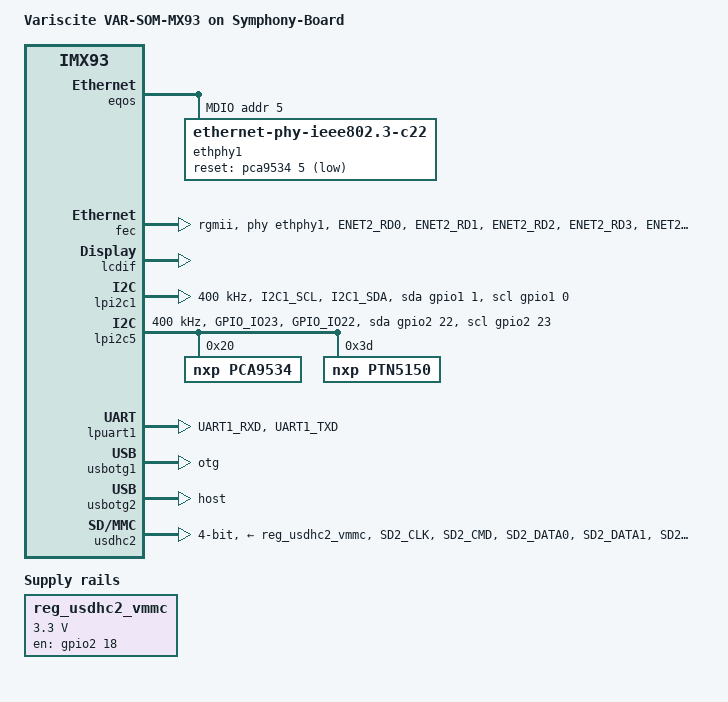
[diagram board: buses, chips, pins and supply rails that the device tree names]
// SPDX-License-Identifier: (GPL-2.0+ OR MIT)
/*
 * Copyright 2021 NXP
 * Copyright 2023 Variscite Ltd.
 */

/dts-v1/;

#include "imx93-var-som.dtsi"

/{
	model = "Variscite VAR-SOM-MX93 on Symphony-Board";
	compatible = "variscite,imx93-var-som", "fsl,imx93";

	aliases {
		ethernet1 = &fec;
	};

	chosen {
		stdout-path = &lpuart1;
	};

	reg_usdhc2_vmmc: regulator-usdhc2 {
		compatible = "regulator-fixed";
		pinctrl-names = "default";
		pinctrl-0 = <&pinctrl_reg_usdhc2_vmmc>;
		regulator-name = "VSD_3V3";
		regulator-min-microvolt = <3300000>;
		regulator-max-microvolt = <3300000>;
		gpio = <&gpio2 18 GPIO_ACTIVE_HIGH>;
		enable-active-high;
	};
};

&eqos {
	mdio {
		ethphy1: ethernet-phy@5 {
			compatible = "ethernet-phy-ieee802.3-c22";
            device_type = "ethernet-phy";
			reg = <5>;
			at803x,eee-disabled;
			eee-broken-1000t;
			reset-gpios = <&pca9534 5 GPIO_ACTIVE_LOW>;
			reset-assert-us = <15000>;
			reset-deassert-us = <100000>;
		};
	};
};

&fec {
       pinctrl-names = "default";
       pinctrl-0 = <&pinctrl_fec>;
       phy-mode = "rgmii";
       phy-handle = <&ethphy1>;
       status = "okay";
};


&iomuxc {
	pinctrl_fec: fecgrp {
		fsl,pins = <
			MX93_PAD_ENET2_RD0__ENET1_RGMII_RD0			0x57e
			MX93_PAD_ENET2_RD1__ENET1_RGMII_RD1			0x57e
			MX93_PAD_ENET2_RD2__ENET1_RGMII_RD2			0x57e
			MX93_PAD_ENET2_RD3__ENET1_RGMII_RD3			0x57e
			MX93_PAD_ENET2_RXC__ENET1_RGMII_RXC			0x5fe
			MX93_PAD_ENET2_RX_CTL__ENET1_RGMII_RX_CTL	0x57e
			MX93_PAD_ENET2_TD0__ENET1_RGMII_TD0			0x57e
			MX93_PAD_ENET2_TD1__ENET1_RGMII_TD1			0x57e
			MX93_PAD_ENET2_TD2__ENET1_RGMII_TD2			0x57e
			MX93_PAD_ENET2_TD3__ENET1_RGMII_TD3			0x57e
			MX93_PAD_ENET2_TXC__ENET1_RGMII_TXC			0x5fe
			MX93_PAD_ENET2_TX_CTL__ENET1_RGMII_TX_CTL	0x57e
		>;
	};

	pinctrl_lpi2c1_gpio: lpi2c1grp-gpio {
		fsl,pins = <
			MX93_PAD_I2C1_SCL__GPIO1_IO00			0x31e
			MX93_PAD_I2C1_SDA__GPIO1_IO01			0x31e
		>;
	};

	pinctrl_lpi2c1: lpi2c1grp {
		fsl,pins = <
			MX93_PAD_I2C1_SCL__LPI2C1_SCL			0x40000b9e
			MX93_PAD_I2C1_SDA__LPI2C1_SDA			0x40000b9e
		>;
	};

	pinctrl_lpi2c5: lpi2c5grp {
		fsl,pins = <
			MX93_PAD_GPIO_IO23__LPI2C5_SCL			0x40000b9e
			MX93_PAD_GPIO_IO22__LPI2C5_SDA			0x40000b9e
		>;
	};

	pinctrl_lpi2c5_gpio: lpi2c5grp-gpio {
		fsl,pins = <
			MX93_PAD_GPIO_IO23__GPIO2_IO23			0x31e
			MX93_PAD_GPIO_IO22__GPIO2_IO22			0x31e
		>;
	};

	pinctrl_reg_usdhc2_vmmc: regusdhc2vmmcgrp {
		fsl,pins = <
			MX93_PAD_GPIO_IO18__GPIO2_IO18		0x31e
		>;
	};

	pinctrl_uart1: uart1grp {
		fsl,pins = <
			MX93_PAD_UART1_RXD__LPUART1_RX			0x31e
			MX93_PAD_UART1_TXD__LPUART1_TX			0x31e
		>;
	};

	pinctrl_usdhc2_gpio: usdhc2gpiogrp {
		fsl,pins = <
			MX93_PAD_SD2_CD_B__GPIO3_IO00			0x31e
		>;
	};

	pinctrl_usdhc2: usdhc2grp {
		fsl,pins = <
			MX93_PAD_SD2_CLK__USDHC2_CLK			0x17fe
			MX93_PAD_SD2_CMD__USDHC2_CMD			0x13fe
			MX93_PAD_SD2_DATA0__USDHC2_DATA0		0x13fe
			MX93_PAD_SD2_DATA1__USDHC2_DATA1		0x13fe
			MX93_PAD_SD2_DATA2__USDHC2_DATA2		0x13fe
			MX93_PAD_SD2_DATA3__USDHC2_DATA3		0x13fe
			MX93_PAD_SD2_VSELECT__USDHC2_VSELECT	0x51e
		>;
	};
};

&lcdif {
	status = "okay";
	assigned-clock-rates = <484000000>, <121000000>, <400000000>, <133333333>;
};

&lpi2c1 {
	#address-cells = <1>;
	#size-cells = <0>;
	clock-frequency = <400000>;
	pinctrl-names = "default", "sleep", "gpio";
	pinctrl-0 = <&pinctrl_lpi2c1>;
	pinctrl-1 = <&pinctrl_lpi2c1_gpio>;
	pinctrl-2 = <&pinctrl_lpi2c1_gpio>;
	scl-gpios = <&gpio1 0 GPIO_ACTIVE_HIGH>;
	sda-gpios = <&gpio1 1 GPIO_ACTIVE_HIGH>;
	status = "okay";
};

&lpi2c5 {
	#address-cells = <1>;
	#size-cells = <0>;
	clock-frequency = <400000>;
	pinctrl-names = "default", "sleep", "gpio";
	pinctrl-0 = <&pinctrl_lpi2c5>;
	pinctrl-1 = <&pinctrl_lpi2c5_gpio>;
	pinctrl-2 = <&pinctrl_lpi2c5_gpio>;
	scl-gpios = <&gpio2 23 GPIO_ACTIVE_HIGH>;
	sda-gpios = <&gpio2 22 GPIO_ACTIVE_HIGH>;
	status = "okay";

	pca9534: gpio@20 {
		status = "okay";
		compatible = "nxp,pca9534";
		reg = <0x20>;
		gpio-controller;
		#gpio-cells = <2>;

		eth1_phy_vsel_hog {
			gpio-hog;
			gpio-hog-optional;
			gpios = <6 0>;
			output-high;
			line-name = "eth1_phy_vsel";
		};

		eth1_phy_pwr_hog {
			gpio-hog;
			gpio-hog-optional;
			gpios = <7 0>;
			output-high;
			line-name = "eth1_phy_pwr";
		};
	};

	ptn5150: ptn5150@3d {
		compatible = "nxp,ptn5150";
		pinctrl-names = "default";
		reg = <0x3d>;
		i2c-bus = <0x4>;
		status = "okay";
	};
};

&lpuart1 { /* console */
	pinctrl-names = "default";
	pinctrl-0 = <&pinctrl_uart1>;
	status = "okay";
};

&usbotg1 {
	dr_mode = "otg";
	extcon = <&ptn5150>;
	hnp-disable;
	srp-disable;
	adp-disable;
	disable-over-current;
	status = "okay";
};

&usbotg2 {
	dr_mode = "host";
	hnp-disable;
	srp-disable;
	adp-disable;
	disable-over-current;
	status = "okay";
};

&usdhc2 {
	pinctrl-names = "default", "state_100mhz", "state_200mhz";
	pinctrl-0 = <&pinctrl_usdhc2>, <&pinctrl_usdhc2_gpio>;
	pinctrl-1 = <&pinctrl_usdhc2>, <&pinctrl_usdhc2_gpio>;
	pinctrl-2 = <&pinctrl_usdhc2>, <&pinctrl_usdhc2_gpio>;
	cd-gpios = <&gpio3 00 GPIO_ACTIVE_LOW>;
	vmmc-supply = <&reg_usdhc2_vmmc>;
	bus-width = <4>;
	status = "okay";
	no-sdio;
	no-mmc;
};
